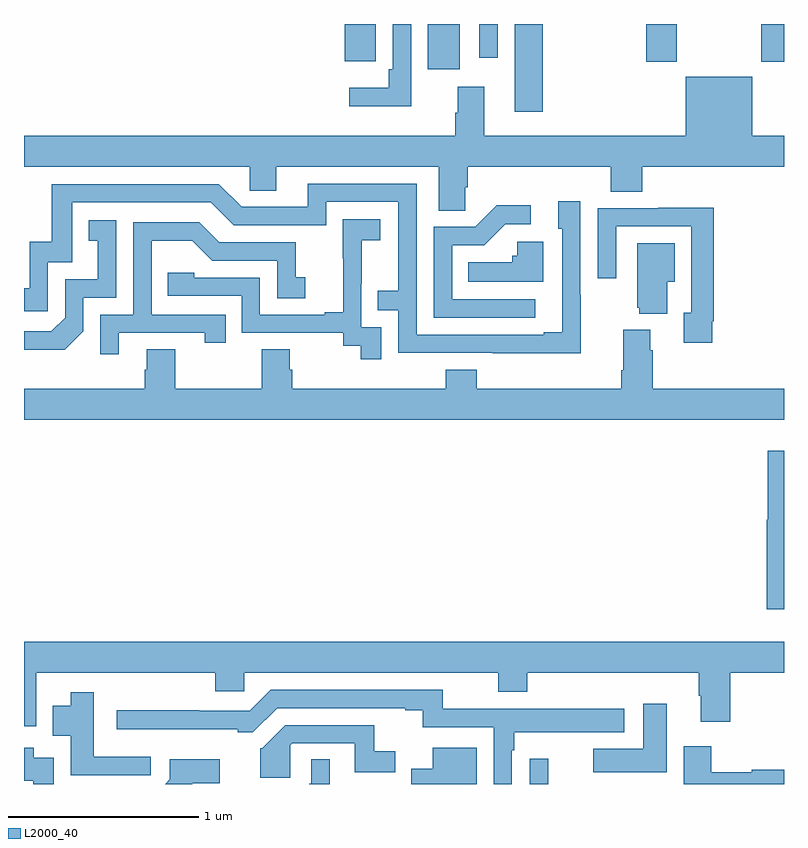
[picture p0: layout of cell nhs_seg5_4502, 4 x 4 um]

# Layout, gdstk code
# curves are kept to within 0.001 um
import gdstk
lib = gdstk.Library(unit=1e-6, precision=1e-09)
def R(c, l, rs):  # rectangles x0, y0, x1, y1
    for r in rs: c.add(gdstk.rectangle(r[:2], r[2:], *l))
def P(c, l, *ps):  # polygons
    for p in ps: c.add(gdstk.Polygon(p, *l))
L2000_40 = (2000, 40)

nhs_seg5_4502 = lib.new_cell('nhs_seg5_4502')
R(nhs_seg5_4502, L2000_40, [(377.661,898.799,377.76,898.933), (377.582,902.337,377.729,902.799), (377.126,902.562,377.293,902.799), (378.275,902.601,378.435,902.799), (378.88,902.601,379,902.799), (376.688,902.603,376.852,902.799), (377.397,902.622,377.493,902.799)])
P(nhs_seg5_4502, L2000_40, [(377.037,902.799),(376.941,902.799),(376.941,902.56),(376.921,902.56),(376.921,902.464),(376.713,902.464),(376.713,902.366),(377.037,902.366)],
  [(377.322,901.939),(377.336,901.939),(377.336,902.048),(378.089,902.048),(378.089,901.915),(378.254,901.915),(378.254,902.048),(379,902.048),(379,902.212),(378.832,902.212),(378.832,902.521),(378.482,902.521),(378.482,902.212),(377.422,902.212),(377.422,902.47),(377.282,902.47),(377.282,902.333),(377.27,902.333),(377.27,902.212),(375,902.212),(375,902.048),(376.188,902.048),(376.188,901.921),(376.327,901.921),(376.327,902.048),(377.183,902.048),(377.183,901.816),(377.322,901.816)],
  [(377.931,901.373),(377.928,901.373),(377.928,901.867),(377.813,901.867),(377.813,901.722),(377.832,901.722),(377.832,901.177),(377.735,901.177),(377.735,901.164),(377.067,901.164),(377.067,901.959),(376.493,901.959),(376.493,901.836),(376.146,901.836),(376.026,901.956),(375.147,901.956),(375.147,901.654),(375.029,901.654),(375.029,901.407),(375,901.407),(375,901.287),(375.126,901.287),(375.126,901.545),(375.255,901.545),(375.255,901.86),(375.984,901.86),(376.104,901.74),(376.59,901.74),(376.59,901.863),(376.971,901.863),(376.971,901.394),(376.861,901.394),(376.861,901.293),(376.971,901.293),(376.971,901.068),(377.931,901.067)],
  [(377.692,901.35),(377.253,901.35),(377.253,901.635),(377.422,901.635),(377.533,901.746),(377.668,901.746),(377.668,901.844),(377.489,901.844),(377.376,901.731),(377.157,901.731),(377.157,901.254),(377.692,901.254)],
  [(378.622,901.234),(378.629,901.234),(378.629,901.832),(378.337,901.832),(378.337,901.83),(378.021,901.83),(378.021,901.461),(378.117,901.461),(378.117,901.734),(378.513,901.734),(378.513,901.278),(378.473,901.278),(378.473,901.122),(378.622,901.122)],
  [(376.881,901.203),(376.776,901.203),(376.776,901.433),(376.778,901.433),(376.778,901.661),(376.876,901.661),(376.876,901.771),(376.678,901.771),(376.678,901.565),(376.679,901.565),(376.679,901.282),(376.583,901.282),(376.583,901.269),(376.242,901.269),(376.242,901.464),(375.897,901.464),(375.897,901.491),(375.757,901.491),(375.757,901.368),(376.146,901.368),(376.146,901.173),(376.68,901.173),(376.68,901.105),(376.773,901.105),(376.773,901.035),(376.881,901.035)],
  [(375.312,901.182),(375.312,901.359),(375.486,901.359),(375.486,901.765),(375.34,901.765),(375.34,901.659),(375.389,901.659),(375.389,901.455),(375.216,901.455),(375.216,901.254),(375.144,901.182),(375,901.182),(375,901.085),(375.214,901.085)],
  [(375.499,901.173),(375.95,901.173),(375.95,901.122),(376.061,901.122),(376.061,901.269),(375.672,901.269),(375.672,901.658),(375.886,901.658),(375.99,901.554),(376.332,901.554),(376.332,901.356),(376.48,901.356),(376.48,901.465),(376.431,901.465),(376.431,901.65),(376.027,901.65),(375.922,901.755),(375.576,901.755),(375.576,901.269),(375.402,901.269),(375.402,901.062),(375.499,901.062)],
  [(377.734,901.654),(377.595,901.654),(377.595,901.578),(377.569,901.578),(377.569,901.546),(377.338,901.546),(377.338,901.442),(377.734,901.442)],
  [(378.385,901.442),(378.424,901.442),(378.424,901.645),(378.227,901.645),(378.227,901.305),(378.239,901.305),(378.239,901.274),(378.385,901.274)],
  [(379,900.88),(378.308,900.88),(378.308,901.082),(378.295,901.082),(378.295,901.189),(378.155,901.189),(378.155,900.976),(378.143,900.976),(378.143,900.88),(377.384,900.88),(377.384,900.979),(377.219,900.979),(377.219,900.88),(376.412,900.88),(376.412,900.978),(376.399,900.978),(376.399,901.088),(376.252,901.088),(376.252,900.88),(375.795,900.88),(375.795,901.088),(375.647,901.088),(375.647,900.978),(375.635,900.978),(375.635,900.88),(375,900.88),(375,900.716),(379,900.716)],
  [(379,900.553),(378.914,900.553),(378.914,900.189),(378.908,900.189),(378.908,899.718),(379,899.718)],
  [(375,899.103),(375.065,899.103),(375.065,899.384),(376.007,899.384),(376.007,899.286),(376.158,899.286),(376.158,899.384),(377.495,899.384),(377.495,899.285),(377.648,899.285),(377.648,899.384),(378.551,899.384),(378.551,899.264),(378.563,899.264),(378.563,899.127),(378.716,899.127),(378.716,899.384),(379,899.384),(379,899.548),(375,899.548)],
  [(377.568,898.976),(377.581,898.976),(377.581,899.072),(378.16,899.072),(378.16,899.194),(377.204,899.195),(377.204,899.295),(376.299,899.295),(376.188,899.184),(375.923,899.184),(375.923,899.186),(375.489,899.186),(375.489,899.087),(376.124,899.087),(376.124,899.072),(376.205,899.072),(376.332,899.199),(377.006,899.199),(377.006,899.187),(377.098,899.187),(377.098,899.097),(377.472,899.097),(377.472,898.799),(377.568,898.799)],
  [(375.667,898.942),(375.367,898.942),(375.367,899.281),(375.245,899.281),(375.245,899.212),(375.152,899.212),(375.152,899.054),(375.245,899.054),(375.245,898.845),(375.667,898.845)],
  [(378.382,899.221),(378.26,899.221),(378.26,898.984),(377.997,898.984),(377.997,898.862),(378.382,898.862)],
  [(376.402,899.002),(376.413,899.013),(376.742,899.013),(376.742,898.862),(376.954,898.862),(376.954,898.972),(376.844,898.972),(376.844,899.109),(376.376,899.109),(376.254,898.987),(376.244,898.987),(376.244,898.832),(376.402,898.832)],
  [(379,898.874),(378.831,898.874),(378.831,898.861),(378.617,898.861),(378.617,898.999),(378.473,898.999),(378.473,898.799),(379,898.799)],
  [(375.156,898.936),(375.052,898.936),(375.052,898.99),(375,898.99),(375,898.816),(375.048,898.816),(375.048,898.799),(375.156,898.799)],
  [(377.383,898.99),(377.15,898.99),(377.15,898.879),(377.039,898.879),(377.039,898.799),(377.383,898.799)],
  [(375.888,898.802),(376.03,898.802),(376.03,898.93),(375.768,898.93),(375.768,898.824),(375.743,898.799),(375.885,898.799)],
  [(376.609,898.928),(376.512,898.928),(376.512,898.8),(376.5,898.8),(376.5,898.799),(376.609,898.799)])

lib.write_gds('nhs_seg5_4502.gds')
